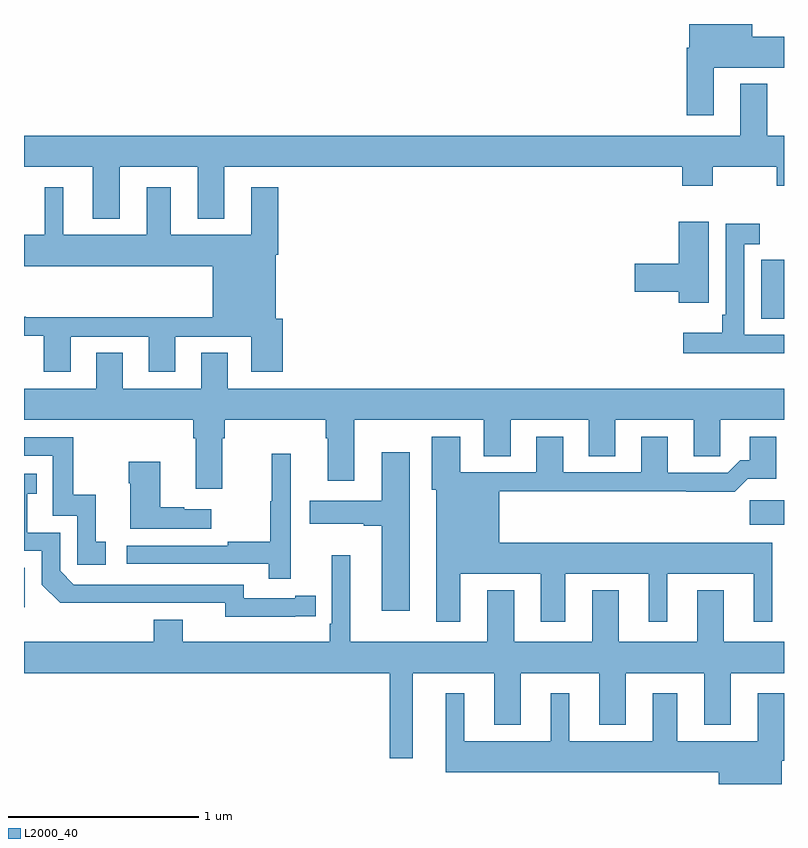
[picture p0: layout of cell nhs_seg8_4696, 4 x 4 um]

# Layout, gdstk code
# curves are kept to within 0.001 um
import gdstk
lib = gdstk.Library(unit=1e-6, precision=1e-09)
def R(c, l, rs):  # rectangles x0, y0, x1, y1
    for r in rs: c.add(gdstk.rectangle(r[:2], r[2:], *l))
def P(c, l, *ps):  # polygons
    for p in ps: c.add(gdstk.Polygon(p, *l))
L2000_40 = (2000, 40)

nhs_seg8_4696 = lib.new_cell('nhs_seg8_4696')
R(nhs_seg8_4696, L2000_40, [(395,1132.83,395.004,1133.037), (398.82,1133.264,399,1133.393), (398.879,1134.349,399,1134.66)])
P(nhs_seg8_4696, L2000_40, [(398.629,1135.67),(399,1135.67),(399,1135.834),(398.833,1135.834),(398.833,1135.9),(398.501,1135.9),(398.501,1135.774),(398.489,1135.774),(398.489,1135.419),(398.629,1135.419)],
  [(395.503,1135.148),(395.915,1135.148),(395.915,1134.875),(396.055,1134.875),(396.055,1135.148),(398.465,1135.148),(398.465,1135.049),(398.625,1135.049),(398.625,1135.148),(398.962,1135.148),(398.962,1135.049),(399,1135.049),(399,1135.312),(398.911,1135.312),(398.911,1135.585),(398.771,1135.585),(398.771,1135.312),(395,1135.312),(395,1135.148),(395.363,1135.148),(395.363,1134.875),(395.503,1134.875)],
  [(395.245,1134.255),(395.657,1134.255),(395.657,1134.069),(395.797,1134.069),(395.797,1134.255),(396.197,1134.255),(396.197,1134.069),(396.362,1134.069),(396.362,1134.348),(396.325,1134.348),(396.325,1134.686),(396.338,1134.686),(396.338,1135.042),(396.197,1135.042),(396.197,1134.79),(395.773,1134.79),(395.773,1135.042),(395.645,1135.042),(395.645,1134.79),(395.206,1134.79),(395.206,1135.042),(395.108,1135.042),(395.108,1134.79),(395,1134.79),(395,1134.626),(395.993,1134.626),(395.993,1134.356),(395.009,1134.356),(395.009,1134.359),(395,1134.359),(395,1134.258),(395.105,1134.258),(395.105,1134.069),(395.245,1134.069)],
  [(398.605,1134.859),(398.447,1134.859),(398.447,1134.638),(398.214,1134.638),(398.214,1134.491),(398.447,1134.491),(398.447,1134.432),(398.605,1134.432)],
  [(398.887,1134.168),(399,1134.168),(399,1134.264),(398.79,1134.264),(398.79,1134.741),(398.872,1134.741),(398.872,1134.85),(398.694,1134.85),(398.694,1134.37),(398.674,1134.37),(398.674,1134.274),(398.469,1134.274),(398.469,1134.167),(398.887,1134.167)],
  [(396.043,1133.72),(396.056,1133.72),(396.056,1133.816),(396.587,1133.816),(396.587,1133.72),(396.599,1133.72),(396.599,1133.496),(396.739,1133.496),(396.739,1133.816),(397.421,1133.816),(397.421,1133.626),(397.561,1133.626),(397.561,1133.816),(397.973,1133.816),(397.973,1133.626),(398.113,1133.626),(398.113,1133.816),(398.525,1133.816),(398.525,1133.626),(398.664,1133.626),(398.664,1133.816),(399,1133.816),(399,1133.98),(396.073,1133.98),(396.073,1134.17),(395.933,1134.17),(395.933,1133.98),(395.521,1133.98),(395.521,1134.17),(395.381,1134.17),(395.381,1133.98),(395,1133.98),(395,1133.816),(395.891,1133.816),(395.891,1133.72),(395.903,1133.72),(395.903,1133.454),(396.043,1133.454)],
  [(397.297,1133.006),(397.721,1133.006),(397.721,1132.755),(397.849,1132.755),(397.849,1133.006),(398.288,1133.006),(398.288,1132.755),(398.386,1132.755),(398.386,1133.006),(398.84,1133.006),(398.84,1132.755),(398.938,1132.755),(398.938,1133.17),(397.501,1133.17),(397.501,1133.44),(398.485,1133.44),(398.485,1133.438),(398.741,1133.438),(398.81,1133.507),(398.959,1133.507),(398.959,1133.728),(398.819,1133.728),(398.819,1133.605),(398.77,1133.605),(398.703,1133.538),(398.389,1133.538),(398.389,1133.728),(398.249,1133.728),(398.249,1133.541),(397.837,1133.541),(397.837,1133.728),(397.697,1133.728),(397.697,1133.541),(397.297,1133.541),(397.297,1133.728),(397.145,1133.728),(397.145,1133.448),(397.169,1133.448),(397.169,1132.755),(397.297,1132.755)],
  [(395.431,1133.175),(395.378,1133.175),(395.378,1133.422),(395.26,1133.422),(395.26,1133.724),(395,1133.724),(395,1133.628),(395.151,1133.628),(395.151,1133.313),(395.28,1133.313),(395.28,1133.055),(395.431,1133.055)],
  [(397.03,1133.647),(396.884,1133.647),(396.884,1133.392),(396.504,1133.392),(396.504,1133.27),(396.788,1133.27),(396.788,1133.258),(396.884,1133.258),(396.884,1132.812),(397.03,1132.812)],
  [(396.405,1133.638),(396.304,1133.638),(396.304,1133.388),(396.297,1133.388),(396.297,1133.174),(396.073,1133.174),(396.073,1133.154),(395.541,1133.154),(395.541,1133.058),(396.289,1133.058),(396.289,1132.98),(396.405,1132.98)],
  [(395.986,1133.347),(395.843,1133.347),(395.843,1133.357),(395.716,1133.357),(395.716,1133.596),(395.551,1133.596),(395.551,1133.483),(395.558,1133.483),(395.558,1133.243),(395.986,1133.243)],
  [(396.428,1132.782),(396.536,1132.782),(396.536,1132.891),(396.428,1132.891),(396.428,1132.878),(396.156,1132.878),(396.156,1132.95),(395.262,1132.95),(395.19,1133.022),(395.19,1133.223),(395.017,1133.223),(395.017,1133.427),(395.066,1133.427),(395.066,1133.533),(395,1133.533),(395,1133.127),(395.094,1133.127),(395.094,1132.95),(395.192,1132.853),(396.06,1132.854),(396.06,1132.781)],
  [(397.045,1132.484),(397.475,1132.484),(397.475,1132.211),(397.615,1132.211),(397.615,1132.484),(398.027,1132.484),(398.027,1132.211),(398.167,1132.211),(398.167,1132.484),(398.579,1132.484),(398.579,1132.211),(398.719,1132.211),(398.719,1132.484),(399,1132.484),(399,1132.648),(398.683,1132.648),(398.683,1132.921),(398.543,1132.921),(398.543,1132.648),(398.131,1132.648),(398.131,1132.921),(397.991,1132.921),(397.991,1132.648),(397.579,1132.648),(397.579,1132.921),(397.439,1132.921),(397.439,1132.648),(396.718,1132.648),(396.718,1133.104),(396.621,1133.104),(396.621,1132.744),(396.608,1132.744),(396.608,1132.648),(395.836,1132.648),(395.836,1132.765),(395.684,1132.765),(395.684,1132.648),(395,1132.648),(395,1132.484),(396.924,1132.484),(396.924,1132.035),(397.045,1132.035)],
  [(398.989,1132.022),(399,1132.022),(399,1132.378),(398.861,1132.378),(398.861,1132.126),(398.437,1132.126),(398.437,1132.378),(398.309,1132.378),(398.309,1132.126),(397.87,1132.126),(397.87,1132.378),(397.772,1132.378),(397.772,1132.126),(397.318,1132.126),(397.318,1132.378),(397.22,1132.378),(397.22,1131.962),(398.657,1131.962),(398.657,1131.9),(398.989,1131.9)])

lib.write_gds('nhs_seg8_4696.gds')
